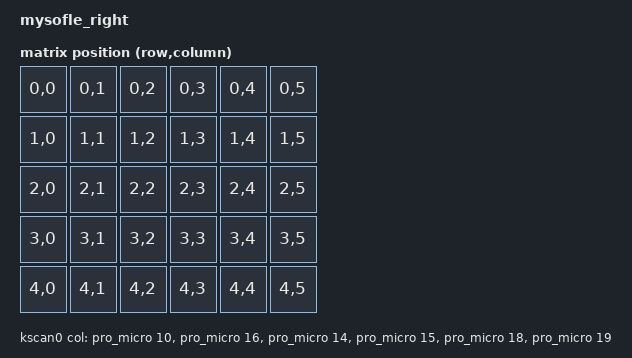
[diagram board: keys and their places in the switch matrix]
/*
 * Copyright (c) 2020 The ZMK Contributors
 *
 * SPDX-License-Identifier: MIT
 */

#include "mysofle.dtsi"

/ {
    model = "mysofle_right";
    compatible = "mysofle_right";

    chosen {
        zmk,split = &split;
    };

    split: split {
        compatible = "zmk,split";
        label = "SPLIT";
        
        central-side = <&left_side>;
        peripheral-side = <&right_side>;
        
        left_side: left_side {
            compatible = "zmk,split-side";
            label = "LEFT_SIDE";
        };
        
        right_side: right_side {
            compatible = "zmk,split-side";
            label = "RIGHT_SIDE";
        };
    };

    transform: keymap_transform_1 {
        compatible = "zmk,matrix-transform";
        columns = <6>;
        rows = <5>;
        map = <
            RC(0,0) RC(0,1) RC(0,2) RC(0,3) RC(0,4) RC(0,5)
            RC(1,0) RC(1,1) RC(1,2) RC(1,3) RC(1,4) RC(1,5)
            RC(2,0) RC(2,1) RC(2,2) RC(2,3) RC(2,4) RC(2,5)
            RC(3,0) RC(3,1) RC(3,2) RC(3,3) RC(3,4) RC(3,5)
            RC(4,0) RC(4,1) RC(4,2) RC(4,3) RC(4,4) RC(4,5)
        >;
    };
};

&default_transform {
    col-offset = <6>;
};

&kscan0 {
    col-gpios
        = <&pro_micro 10 (GPIO_ACTIVE_HIGH | GPIO_PULL_DOWN)>
        , <&pro_micro 16 (GPIO_ACTIVE_HIGH | GPIO_PULL_DOWN)>
        , <&pro_micro 14 (GPIO_ACTIVE_HIGH | GPIO_PULL_DOWN)>
        , <&pro_micro 15 (GPIO_ACTIVE_HIGH | GPIO_PULL_DOWN)>
        , <&pro_micro 18 (GPIO_ACTIVE_HIGH | GPIO_PULL_DOWN)>
        , <&pro_micro 19 (GPIO_ACTIVE_HIGH | GPIO_PULL_DOWN)>
        ;
};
